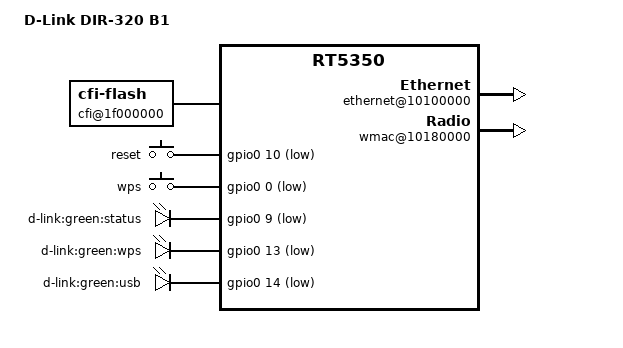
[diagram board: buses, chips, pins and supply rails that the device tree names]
/dts-v1/;

/include/ "rt5350.dtsi"

/ {
	#address-cells = <1>;
	#size-cells = <1>;
	compatible = "DIR-320-B1", "ralink,rt5350-soc";
	model = "D-Link DIR-320 B1";

	memorydetect {
		ralink,memory = <0x0 0x200000 0x4000000>;
	};

	chosen {
		bootargs = "console=ttyS1,57600 mtdparts=spi0.0:192k(u-boot)ro,64k(u-boot-env)ro,64k(factory)ro,1024k(kernel),6848k(rootfs),7872k@0x50000(firmware)";
	};

	palmbus@10000000 {
		sysc@0 {
			ralink,pinmmux = "i2c", "spi", "uartlite", "jtag", "mdio", "sdram", "rgmii";
			ralink,uartmux = "gpio";
			ralink,wdtmux = <1>;
		};

		gpio0: gpio@600 {
			status = "okay";
		};

	};

	cfi@1f000000 {
		compatible = "cfi-flash";
		reg = <0x1f000000 0x800000>;

		bank-width = <2>;
		device-width = <2>;
		#address-cells = <1>;
		#size-cells = <1>;
	};

	ethernet@10100000 {
		status = "okay";
	};

	esw@10110000 {
		status = "okay";
		ralink,portmap = <0x2f>;
	};

	gpio-keys-polled {
		compatible = "gpio-keys-polled";
		#address-cells = <1>;
		#size-cells = <0>;
		poll-interval = <20>;
		reset {
			label = "reset";
			gpios = <&gpio0 10 1>;
			linux,code = <0x198>;
		};
		wps {
			label = "wps";
			gpios = <&gpio0 0 1>;
			linux,code = <0x211>;
		};
	};

	wmac@10180000 {
		status = "okay";
	};

	gpio-leds {
		compatible = "gpio-leds";
		status {
			label = "d-link:green:status";
			gpios = <&gpio0 9 1>;
		};
		wps {
			label = "d-link:green:wps";
			gpios = <&gpio0 13 1>;
		};
		usb {
			label = "d-link:green:usb";
			gpios = <&gpio0 14 1>;
		};
	};
};
